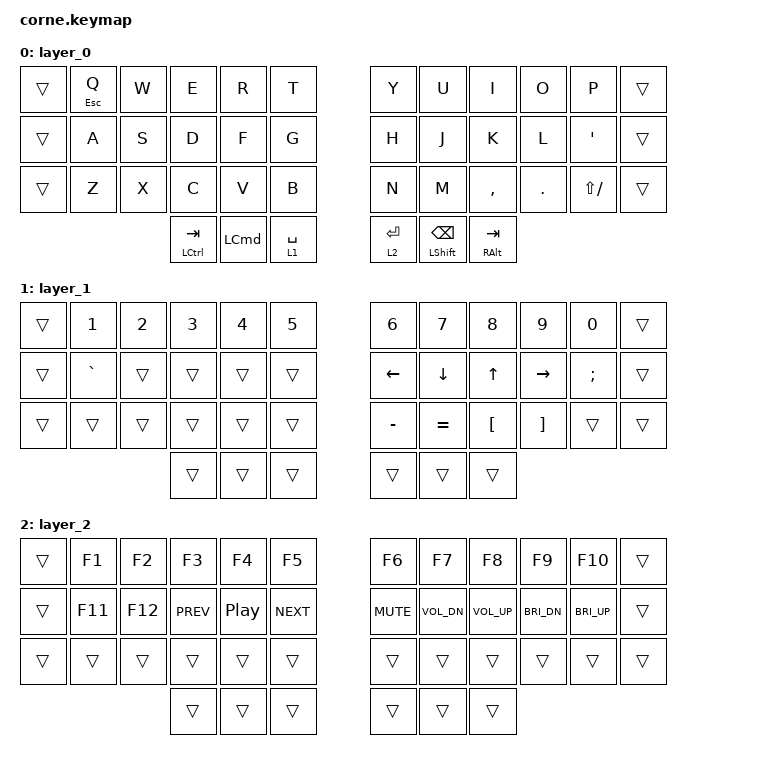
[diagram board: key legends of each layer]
/*
* Copyright (c) 2020 The ZMK Contributors
*
* SPDX-License-Identifier: MIT
*/

#include <behaviors.dtsi>
#include <dt-bindings/zmk/keys.h>

/ {
    keymap {
        compatible = "zmk,keymap";

        layer_0 {
            bindings = <
&trans  &mt ESC Q  &kp W  &kp E                 &kp R             &kp T          &kp Y        &kp U                     &kp I              &kp O    &kp P          &trans
&trans  &kp A      &kp S  &kp D                 &kp F             &kp G          &kp H        &kp J                     &kp K              &kp L    &kp SQT        &trans
&trans  &kp Z      &kp X  &kp C                 &kp V             &kp B          &kp N        &kp M                     &kp COMMA          &kp DOT  &kp LS(SLASH)  &trans
                          &mt LEFT_CONTROL TAB  &kp LEFT_COMMAND  &lt 1 SPACE    &lt 2 ENTER  &mt LEFT_SHIFT BACKSPACE  &mt RIGHT_ALT TAB
            >;
        };

        layer_1 {
            bindings = <
&trans  &kp N1     &kp N2  &kp N3  &kp N4  &kp N5    &kp N6     &kp N7     &kp N8    &kp N9     &kp N0    &trans
&trans  &kp GRAVE  &trans  &trans  &trans  &trans    &kp LEFT   &kp DOWN   &kp UP    &kp RIGHT  &kp SEMI  &trans
&trans  &trans     &trans  &trans  &trans  &trans    &kp MINUS  &kp EQUAL  &kp LBKT  &kp RBKT   &trans    &trans
                           &trans  &trans  &trans    &trans     &trans     &trans
            >;
        };

        layer_2 {
            bindings = <
&trans  &kp F1   &kp F2   &kp F3      &kp F4            &kp F5        &kp F6      &kp F7        &kp F8        &kp F9        &kp F10       &trans
&trans  &kp F11  &kp F12  &kp C_PREV  &kp C_PLAY_PAUSE  &kp C_NEXT    &kp C_MUTE  &kp C_VOL_DN  &kp C_VOL_UP  &kp C_BRI_DN  &kp C_BRI_UP  &trans
&trans  &trans   &trans   &trans      &trans            &trans        &trans      &trans        &trans        &trans        &trans        &trans
                          &trans      &trans            &trans        &trans      &trans        &trans
            >;
        };
    };
};
